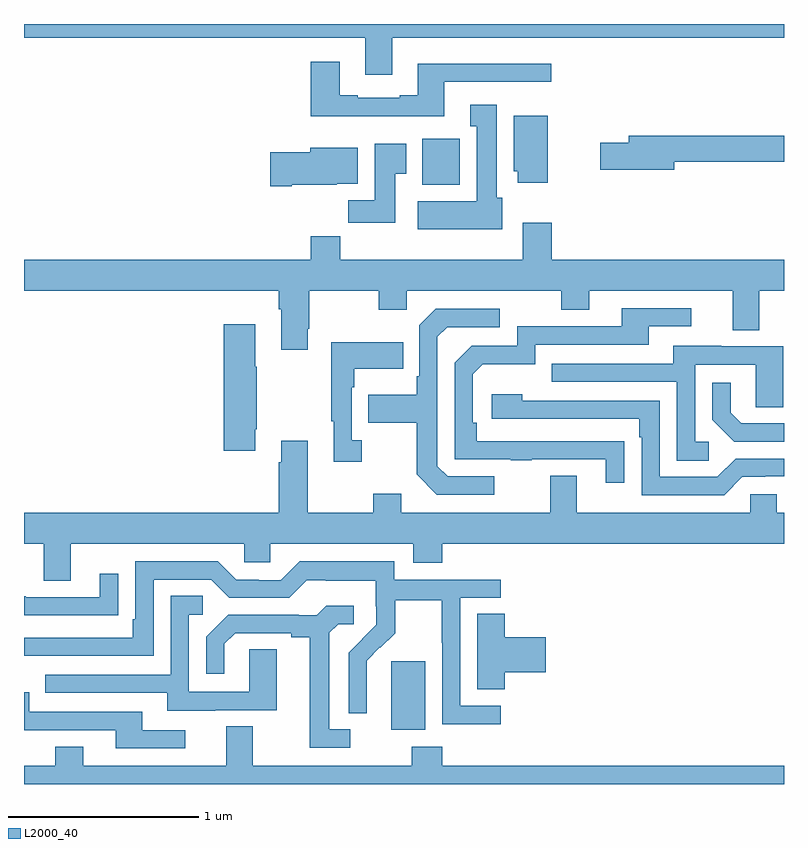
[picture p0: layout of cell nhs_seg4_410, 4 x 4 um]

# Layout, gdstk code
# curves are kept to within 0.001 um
import gdstk
lib = gdstk.Library(unit=1e-6, precision=1e-09)
def R(c, l, rs):  # rectangles x0, y0, x1, y1
    for r in rs: c.add(gdstk.rectangle(r[:2], r[2:], *l))
def P(c, l, *ps):  # polygons
    for p in ps: c.add(gdstk.Polygon(p, *l))
L2000_40 = (2000, 40)

nhs_seg4_410 = lib.new_cell('nhs_seg4_410')
R(nhs_seg4_410, L2000_40, [(132.932,785.186,133.111,785.547), (133.097,788.054,133.294,788.296)])
P(nhs_seg4_410, L2000_40, [(132.937,788.828),(135,788.828),(135,788.9),(131,788.9),(131,788.828),(132.797,788.828),(132.797,788.634),(132.937,788.634)],
  [(133.213,788.595),(133.774,788.595),(133.774,788.692),(133.073,788.692),(133.073,788.524),(132.977,788.524),(132.977,788.511),(132.757,788.511),(132.757,788.524),(132.661,788.524),(132.661,788.701),(132.509,788.701),(132.509,788.414),(133.213,788.414)],
  [(133.516,787.986),(133.489,787.986),(133.489,788.476),(133.349,788.476),(133.349,788.363),(133.382,788.363),(133.382,787.966),(133.073,787.966),(133.073,787.82),(133.516,787.82)],
  [(133.756,788.416),(133.577,788.416),(133.577,788.124),(133.598,788.124),(133.598,788.064),(133.756,788.064)],
  [(134.422,788.176),(135,788.176),(135,788.312),(134.183,788.312),(134.183,788.276),(134.034,788.276),(134.034,788.134),(134.422,788.134)],
  [(132.955,788.113),(133.012,788.113),(133.012,788.269),(132.845,788.269),(132.845,787.972),(132.706,787.972),(132.706,787.854),(132.955,787.854)],
  [(132.409,788.054),(132.645,788.054),(132.645,788.06),(132.757,788.06),(132.757,788.248),(132.506,788.248),(132.506,788.225),(132.297,788.225),(132.297,788.047),(132.409,788.047)],
  [(132.493,787.297),(132.501,787.297),(132.501,787.496),(132.868,787.496),(132.868,787.397),(133.014,787.397),(133.014,787.496),(133.828,787.496),(133.828,787.397),(133.975,787.397),(133.975,787.496),(134.729,787.496),(134.729,787.288),(134.869,787.288),(134.869,787.496),(135,787.496),(135,787.66),(133.778,787.66),(133.778,787.855),(133.625,787.855),(133.625,787.66),(132.665,787.66),(132.665,787.784),(132.509,787.784),(132.509,787.66),(131,787.66),(131,787.496),(132.341,787.496),(132.341,787.4),(132.353,787.4),(132.353,787.185),(132.493,787.185)],
  [(134.159,786.704),(133.382,786.705),(133.382,786.802),(133.362,786.802),(133.362,787.056),(133.415,787.109),(133.692,787.109),(133.692,787.212),(134.287,787.212),(134.287,787.308),(134.512,787.308),(134.512,787.404),(134.147,787.404),(134.147,787.308),(133.596,787.308),(133.596,787.206),(133.356,787.206),(133.266,787.116),(133.266,786.609),(133.561,786.609),(133.561,786.604),(133.673,786.604),(133.673,786.609),(134.063,786.609),(134.063,786.486),(134.159,786.486)],
  [(133.474,786.519),(133.23,786.519),(133.176,786.573),(133.176,787.254),(133.227,787.305),(133.504,787.305),(133.504,787.401),(133.167,787.401),(133.08,787.314),(133.08,787.045),(133.068,787.045),(133.068,786.949),(132.811,786.949),(132.811,786.802),(133.068,786.802),(133.068,786.529),(133.173,786.423),(133.474,786.423)],
  [(132.217,786.766),(132.225,786.766),(132.225,787.097),(132.217,787.097),(132.217,787.321),(132.05,787.321),(132.05,786.654),(132.217,786.654)],
  [(132.778,786.71),(132.726,786.71),(132.726,786.989),(132.739,786.989),(132.739,787.085),(132.995,787.085),(132.995,787.225),(132.618,787.225),(132.618,786.809),(132.629,786.809),(132.629,786.597),(132.778,786.597)],
  [(134.605,786.702),(134.532,786.702),(134.532,787.107),(134.85,787.107),(134.85,786.883),(134.995,786.883),(134.995,787.203),(134.671,787.203),(134.671,787.207),(134.417,787.207),(134.417,787.113),(133.777,787.113),(133.777,787.017),(134.436,787.017),(134.436,786.601),(134.605,786.601)],
  [(135,786.798),(134.776,786.798),(134.719,786.855),(134.719,787.012),(134.622,787.012),(134.622,786.818),(134.738,786.702),(135,786.702)],
  [(134.781,786.516),(134.9,786.516),(134.9,786.519),(135,786.519),(135,786.612),(134.745,786.612),(134.649,786.516),(134.346,786.516),(134.346,786.918),(133.622,786.918),(133.622,786.952),(133.461,786.952),(133.461,786.822),(134.237,786.822),(134.237,786.725),(134.25,786.725),(134.25,786.42),(134.685,786.42)],
  [(131.245,786.164),(132.159,786.164),(132.159,786.066),(132.297,786.066),(132.297,786.164),(133.049,786.164),(133.049,786.065),(133.202,786.065),(133.202,786.164),(135,786.164),(135,786.328),(134.961,786.328),(134.961,786.426),(134.823,786.426),(134.823,786.328),(133.909,786.328),(133.909,786.523),(133.769,786.523),(133.769,786.328),(132.985,786.328),(132.985,786.427),(132.838,786.427),(132.838,786.328),(132.493,786.328),(132.493,786.706),(132.353,786.706),(132.353,786.593),(132.341,786.593),(132.341,786.328),(131,786.328),(131,786.164),(131.105,786.164),(131.105,785.97),(131.245,785.97)],
  [(133.51,785.313),(133.296,785.313),(133.296,785.88),(133.51,785.88),(133.51,785.976),(132.948,785.976),(132.948,786.073),(132.451,786.073),(132.351,785.973),(132.236,785.973),(132.236,785.976),(132.117,785.976),(132.021,786.072),(131.586,786.072),(131.586,785.767),(131.573,785.767),(131.573,785.67),(131,785.67),(131,785.574),(131.682,785.574),(131.682,785.976),(131.985,785.976),(132.081,785.88),(132.396,785.88),(132.489,785.973),(132.589,785.973),(132.589,785.969),(132.852,785.969),(132.852,785.835),(132.854,785.835),(132.854,785.738),(132.708,785.59),(132.708,785.272),(132.804,785.272),(132.803,785.549),(132.873,785.619),(132.876,785.616),(132.953,785.693),(132.953,785.868),(133.198,785.868),(133.198,785.644),(133.2,785.644),(133.2,785.215),(133.51,785.215)],
  [(131.393,785.788),(131.495,785.788),(131.495,786.007),(131.399,786.007),(131.399,785.883),(131.009,785.883),(131.009,785.888),(131,785.888),(131,785.787),(131.393,785.787)],
  [(132.007,785.289),(132.331,785.289),(132.331,785.609),(132.186,785.609),(132.186,785.385),(131.868,785.385),(131.868,785.79),(131.941,785.79),(131.941,785.891),(131.772,785.891),(131.772,785.475),(131.113,785.475),(131.113,785.379),(131.753,785.379),(131.753,785.285),(132.007,785.285)],
  [(132.718,785.187),(132.607,785.187),(132.607,785.695),(132.654,785.742),(132.736,785.742),(132.736,785.839),(132.592,785.839),(132.54,785.787),(132.446,785.787),(132.446,785.79),(132.074,785.79),(131.958,785.674),(131.958,785.481),(132.055,785.481),(132.055,785.637),(132.112,785.694),(132.407,785.694),(132.407,785.672),(132.503,785.672),(132.503,785.091),(132.718,785.091)],
  [(133.529,785.489),(133.747,785.489),(133.747,785.672),(133.529,785.672),(133.529,785.795),(133.385,785.795),(133.385,785.398),(133.529,785.398)],
  [(131.848,785.184),(131.623,785.184),(131.623,785.28),(131.028,785.28),(131.028,785.383),(131,785.383),(131,785.184),(131.483,785.184),(131.483,785.088),(131.848,785.088)],
  [(135,784.996),(133.202,784.996),(133.202,785.095),(133.042,785.095),(133.042,784.996),(132.205,784.996),(132.205,785.204),(132.065,785.204),(132.065,784.996),(131.311,784.996),(131.311,785.095),(131.164,785.095),(131.164,784.996),(131,784.996),(131,784.9),(135,784.9)])

lib.write_gds('nhs_seg4_410.gds')
